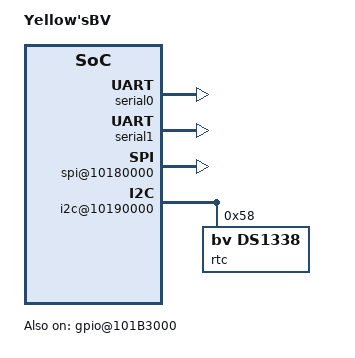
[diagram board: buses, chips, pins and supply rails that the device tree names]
/dts-v1/;

/ {
    compatible = "BV,Yellow'sBV";
    model = "Yellow'sBV";

    cpu {
        cpu@0 {
            device_type = "cpu";
            compatible = "arm, cotex-a9";
        };

        cpu@1 {
            device_type = "cpu";
            compatible = "arm, cotex-a9";
        };
    };

    serial0: serial@101B1000 {
        compatible = "arm, bv011";
        status = "okay";
    };

    serial1: serial@101B2000 {
        compatible = "arm, bv011";
        status = "okay";
    };

    gpio@101B3000 {
        compatible = "arm, bv061";
        gpio-controller;
        status = "okay";
    };

    spi@10180000 {
        compatible = "arm, bv022";
        status = "okay";
    };
    
    i2c@10190000 {
        conpatible = "bv, bv-i2c-bus";
        status = "okay";

        rtc@58 {
            compatible = "bv, ds1338";
            reg = <0x58>;
        };
    };
};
